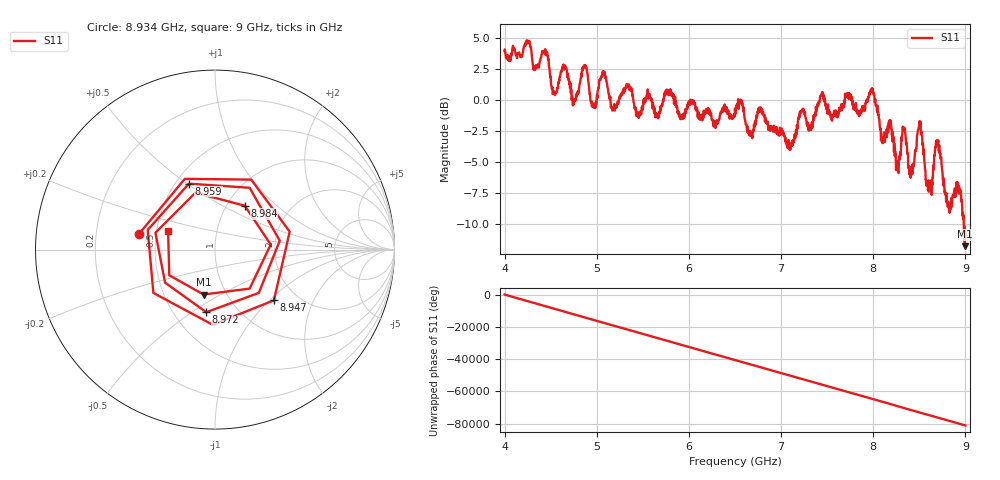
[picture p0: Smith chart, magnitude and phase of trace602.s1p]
! Created with skrf 1.8.0 (http://scikit-rf.org).
# Hz S RI R 50.0
!freq ReS11 ImS11
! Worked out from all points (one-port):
!   1601 points, 4 GHz to 9 GHz, reference 50 ohm
!   lowest |S11| = -11.8 dB at 8.994 GHz (marker M1), VSWR 1.70, Z = 39.1 - j21 ohm
!   |S11| at or under -10 dB: 8.982386 GHz to end of sweep
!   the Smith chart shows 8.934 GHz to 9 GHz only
!   S11 on the Smith chart (normalised r, x): 8.934 GHz: 0.40, +0.09; 8.947 GHz: 1.53, -1.06; 8.959 GHz: 0.58, +0.51; 8.972 GHz: 0.72, -0.57; 8.984 GHz: 1.21, +0.65; 9 GHz: 0.57, +0.13
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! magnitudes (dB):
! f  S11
! 4 GHz  4.0
! 4.441 GHz  4.1
! 4.541 GHz  0.6
! 4.625 GHz  2.7
! 4.753 GHz  -0.2
! 4.866 GHz  2.8
! 4.959 GHz  -0.5
! 5.072 GHz  2.3
! 5.25 GHz  0.3
! 5.875 GHz  -0.7
! 6.5 GHz  -0.7
! 7.125 GHz  -3.6
! 7.219 GHz  -0.9
! 7.75 GHz  0.4
! 7.988 GHz  1.0
! 8.103 GHz  -3.0
! 8.375 GHz  -4.3
! 8.506 GHz  -1.9
! 8.594 GHz  -7.2
! 8.697 GHz  -3.5
! 8.816 GHz  -8.3
! 8.934 GHz  -7.3
! 8.947 GHz  -7.3
! 8.959 GHz  -8.1
! 8.972 GHz  -9.1
! 8.984 GHz  -10.6
! 8.994 GHz  -11.8
! 9 GHz  -11.0
